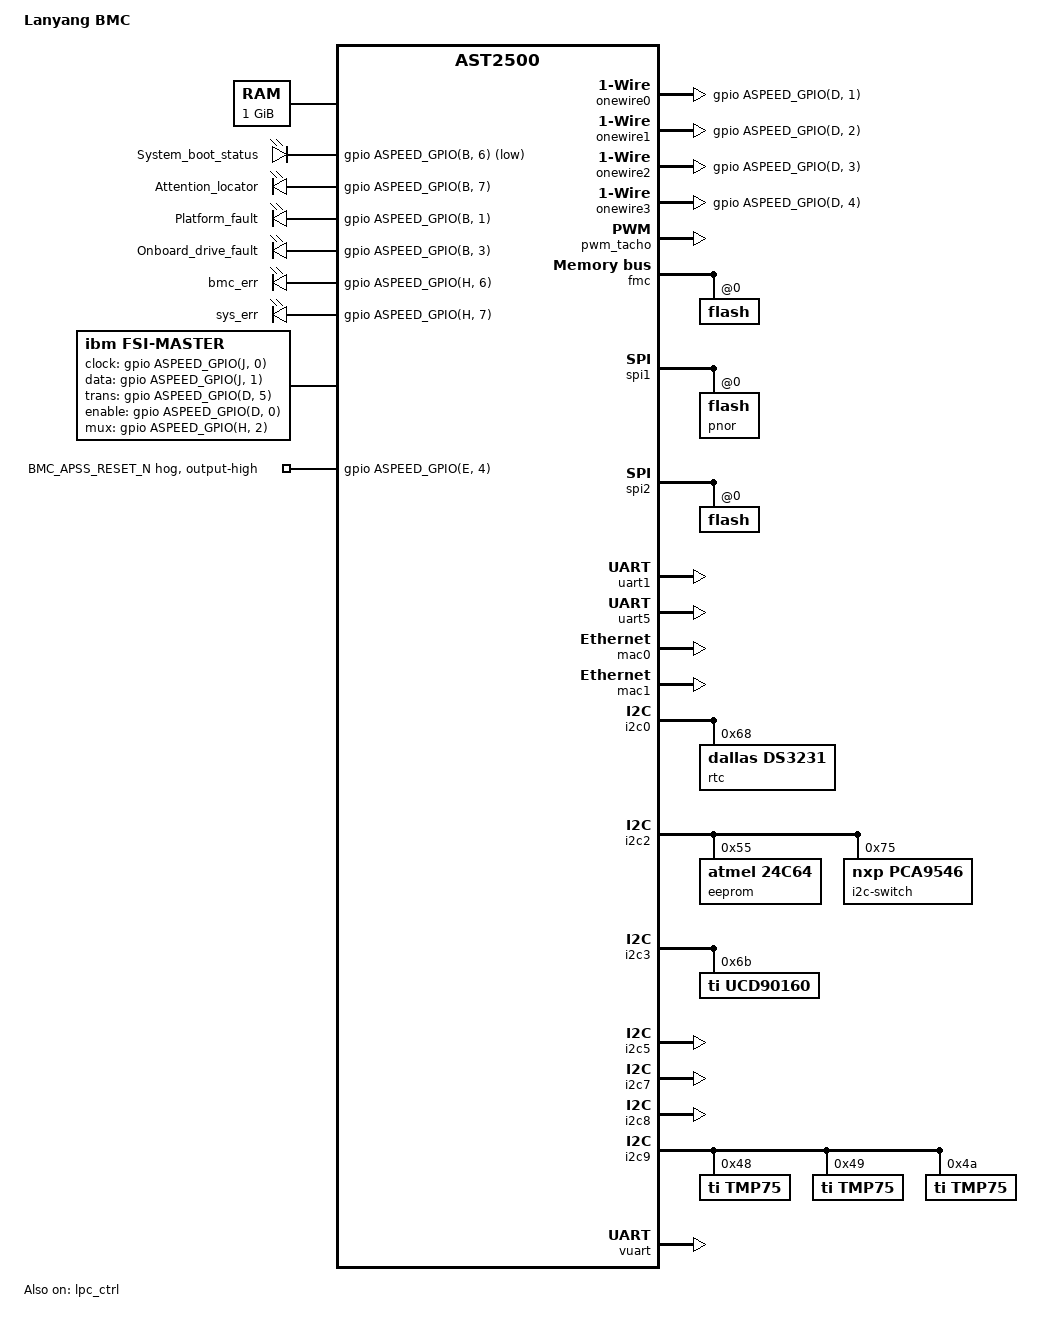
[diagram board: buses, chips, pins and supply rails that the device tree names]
/dts-v1/;

#include "aspeed-g5.dtsi"
#include <dt-bindings/gpio/aspeed-gpio.h>

/ {
	model = "Lanyang BMC";
	compatible = "inventec,lanyang-bmc", "aspeed,ast2500";

	aliases {
		serial4 = &uart5;
	};

	chosen {
		stdout-path = &uart5;
		bootargs = "console=ttyS4,115200 earlyprintk";
	};

	memory {
		reg = <0x80000000 0x40000000>;
	};

	reserved-memory {
		#address-cells = <1>;
		#size-cells = <1>;
		ranges;

		flash_memory: region@94000000 {
			no-map;
			reg = <0x94000000 0x04000000>; /* 64M */
		};
	};

	onewire0 {
		compatible = "w1-gpio";
		gpios = <&gpio ASPEED_GPIO(D, 1) GPIO_ACTIVE_HIGH>;
	};

	onewire1 {
		compatible = "w1-gpio";
		gpios = <&gpio ASPEED_GPIO(D, 2) GPIO_ACTIVE_HIGH>;
	};

	onewire2 {
		compatible = "w1-gpio";
		gpios = <&gpio ASPEED_GPIO(D, 3) GPIO_ACTIVE_HIGH>;
	};

	onewire3 {
		compatible = "w1-gpio";
		gpios = <&gpio ASPEED_GPIO(D, 4) GPIO_ACTIVE_HIGH>;
	};

	leds {
		compatible = "gpio-leds";

		sys_boot_status {
			label = "System_boot_status";
			gpios = <&gpio ASPEED_GPIO(B, 6) GPIO_ACTIVE_LOW>;
		};

		attention {
			label = "Attention_locator";
			gpios = <&gpio ASPEED_GPIO(B, 7) GPIO_ACTIVE_HIGH>;
		};

		plt_fault {
			label = "Platform_fault";
			gpios = <&gpio ASPEED_GPIO(B, 1) GPIO_ACTIVE_HIGH>;
		};

		hdd_fault {
			label = "Onboard_drive_fault";
			gpios = <&gpio ASPEED_GPIO(B, 3) GPIO_ACTIVE_HIGH>;
		};
		bmc_err {
			lable = "BMC_fault";
			gpios = <&gpio ASPEED_GPIO(H, 6) GPIO_ACTIVE_HIGH>;
		};

		sys_err {
			lable = "Sys_fault";
			gpios = <&gpio ASPEED_GPIO(H, 7) GPIO_ACTIVE_HIGH>;
		};
    };
        pwm_tacho: pwm-tacho-controller@2e786000 {
                #address-cells = <1>;
                #size-cells = <1>;
                reg = <0x1E786000 0x1000>;
                pinctrl-names = "default";
                pinctrl-0 = <&pinctrl_pwm0_default &pinctrl_pwm1_default
                 &pinctrl_pwm2_default &pinctrl_pwm3_default
                 &pinctrl_pwm4_default &pinctrl_pwm5_default>;
                compatible = "aspeed,aspeed2500-pwm-tacho";
                clocks = <&pwm_tacho_fixed_clk>;
                type-values {
                        typem {
                                type = /bits/ 8 <0x00>;
                                pwm-period = /bits/ 8 <0x5F>;
                                pwm-clock-division-h = /bits/ 8 <0x00>;
                                pwm-clock-division-l = /bits/ 8 <0x05>;
                                fan-tach-type-enable;
                               fan-tach-clock-division = /bits/ 8 <0x00>;
                                fan-tach-mode-selection = /bits/ 8 <0x00>;
                                fan-tach-period = /bits/ 16 <0x1000>;
                        };
                };
                pwm-port {
                        pwm-port0 {
                                pwm-port = /bits/ 8 <0x00>;
                                type = /bits/ 8 <0x00>;
                                fan-ctrl = /bits/ 8 <0xFF>;
                        };
                        pwm-port1 {
                                pwm-port = /bits/ 8 <0x01>;
                                type = /bits/ 8 <0x00>;
                                fan-ctrl = /bits/ 8 <0xFF>;
                        };
                        pwm-port2 {
                                pwm-port = /bits/ 8 <0x02>;
                                type = /bits/ 8 <0x00>;
                                fan-ctrl = /bits/ 8 <0xFF>;
                        };
                        pwm-port3 {
                                pwm-port = /bits/ 8 <0x03>;
                                type = /bits/ 8 <0x00>;
                                fan-ctrl = /bits/ 8 <0xFF>;
                        };
                        pwm-port4 {
                                pwm-port = /bits/ 8 <0x04>;
                                type = /bits/ 8 <0x00>;
                                fan-ctrl = /bits/ 8 <0xFF>;
                        };
                        pwm-port5 {
                                pwm-port = /bits/ 8 <0x05>;
                                type = /bits/ 8 <0x00>;
                                fan-ctrl = /bits/ 8 <0xFF>;
                        };
               };
               fan-tach-channel {
                        fan-tach0 {
                                fanctrl-gpios = <&gpio
                                         ASPEED_GPIO(O, 0) GPIO_ACTIVE_HIGH>;
                                fan-tach = /bits/ 8 <0x00>;
                                pwm-source = /bits/ 8 <0x00>;
                        };
                        fan-tach1 {
                                fanctrl-gpios = <&gpio
                                         ASPEED_GPIO(O, 1) GPIO_ACTIVE_HIGH>;
                                fan-tach = /bits/ 8 <0x01>;
                                pwm-source = /bits/ 8 <0x01>;
                        };
                        fan-tach2 {
                                fanctrl-gpios = <&gpio
                                         ASPEED_GPIO(O, 2) GPIO_ACTIVE_HIGH>;
                                fan-tach = /bits/ 8 <0x02>;
                               pwm-source = /bits/ 8 <0x02>;
                        };
                        fan-tach3 {
                                fanctrl-gpios = <&gpio
                                         ASPEED_GPIO(O, 3) GPIO_ACTIVE_HIGH>;
                                fan-tach = /bits/ 8 <0x03>;
                                pwm-source = /bits/ 8 <0x03>;
                        };
                        fan-tach4 {
                                fanctrl-gpios = <&gpio
                                         ASPEED_GPIO(O, 4) GPIO_ACTIVE_HIGH>;
                                fan-tach = /bits/ 8 <0x04>;
                                pwm-source = /bits/ 8 <0x04>;
                        };
                        fan-tach5 {
                                fanctrl-gpios = <&gpio
                                         ASPEED_GPIO(O, 5) GPIO_ACTIVE_HIGH>;
                                fan-tach = /bits/ 8 <0x05>;
                                pwm-source = /bits/ 8 <0x05>;
                        };
                };
	};

	fsi-master {
		compatible = "ibm,fsi-master", "ibm,fsi-master-gpio";

		status = "okay";

		clock-gpios = <&gpio ASPEED_GPIO(J, 0) GPIO_ACTIVE_HIGH>;
		data-gpios = <&gpio ASPEED_GPIO(J, 1) GPIO_ACTIVE_HIGH>;
		trans-gpios = <&gpio ASPEED_GPIO(D, 5) GPIO_ACTIVE_HIGH>;
		enable-gpios = <&gpio ASPEED_GPIO(D, 0) GPIO_ACTIVE_HIGH>;
		mux-gpios = <&gpio ASPEED_GPIO(H, 2) GPIO_ACTIVE_HIGH>;
	};

    pwm_tacho: pwm-tacho-controller@2e786000 {
        #address-cells = <1>;
        #size-cells = <1>;
        reg = <0x1E786000 0x1000>;
        pinctrl-names = "default";
        pinctrl-0 = <&pinctrl_pwm0_default &pinctrl_pwm1_default
         &pinctrl_pwm2_default &pinctrl_pwm3_default
         &pinctrl_pwm4_default &pinctrl_pwm5_default>;
        compatible = "aspeed,aspeed2500-pwm-tacho";
        clocks = <&pwm_tacho_fixed_clk>;
        type-values {
            typem {
                type = /bits/ 8 <0x00>;
                pwm-period = /bits/ 8 <0x5F>;
                pwm-clock-division-h = /bits/ 8 <0x00>;
                pwm-clock-division-l = /bits/ 8 <0x05>;
                fan-tach-type-enable;
                fan-tach-clock-division = /bits/ 8 <0x00>;
                fan-tach-mode-selection = /bits/ 8 <0x00>;
                fan-tach-period = /bits/ 16 <0x1000>;
            };
        };

        pwm-port {
            pwm-port0 {
                pwm-port = /bits/ 8 <0x00>;
                type = /bits/ 8 <0x00>;
                fan-ctrl = /bits/ 8 <0xFF>;
            };
            pwm-port1 {
                pwm-port = /bits/ 8 <0x01>;
                type = /bits/ 8 <0x00>;
                fan-ctrl = /bits/ 8 <0xFF>;
            };
            pwm-port2 {
                pwm-port = /bits/ 8 <0x02>;
                type = /bits/ 8 <0x00>;
                fan-ctrl = /bits/ 8 <0xFF>;
            };
            pwm-port3 {
                pwm-port = /bits/ 8 <0x03>;
                type = /bits/ 8 <0x00>;
                fan-ctrl = /bits/ 8 <0xFF>;
            };
            pwm-port4 {
                pwm-port = /bits/ 8 <0x04>;
                type = /bits/ 8 <0x00>;
                fan-ctrl = /bits/ 8 <0xFF>;
            };
            pwm-port5 {
                pwm-port = /bits/ 8 <0x05>;
                type = /bits/ 8 <0x00>;
                fan-ctrl = /bits/ 8 <0xFF>;
            };
        };

        fan-tach-channel {
            fan-tach0 {
                fanctrl-gpios = <&gpio
                     ASPEED_GPIO(O, 0) GPIO_ACTIVE_HIGH>;
                fan-tach = /bits/ 8 <0x00>;
                pwm-source = /bits/ 8 <0x00>;
            };
            fan-tach1 {
                fanctrl-gpios = <&gpio
                     ASPEED_GPIO(O, 1) GPIO_ACTIVE_HIGH>;
                fan-tach = /bits/ 8 <0x01>;
                pwm-source = /bits/ 8 <0x01>;
            };
            fan-tach2 {
                fanctrl-gpios = <&gpio
                     ASPEED_GPIO(O, 2) GPIO_ACTIVE_HIGH>;
                fan-tach = /bits/ 8 <0x02>;
                pwm-source = /bits/ 8 <0x02>;
            };
            fan-tach3 {
                fanctrl-gpios = <&gpio
                     ASPEED_GPIO(O, 3) GPIO_ACTIVE_HIGH>;
                fan-tach = /bits/ 8 <0x03>;
                pwm-source = /bits/ 8 <0x03>;
            };
            fan-tach4 {
                fanctrl-gpios = <&gpio
                     ASPEED_GPIO(O, 4) GPIO_ACTIVE_HIGH>;
                fan-tach = /bits/ 8 <0x04>;
                pwm-source = /bits/ 8 <0x04>;
            };
            fan-tach5 {
                fanctrl-gpios = <&gpio
                     ASPEED_GPIO(O, 5) GPIO_ACTIVE_HIGH>;
                fan-tach = /bits/ 8 <0x05>;
                pwm-source = /bits/ 8 <0x05>;
            };
        };
    };
>>>>>>> a8453f2... add pwm/tach
};

&fmc {
	status = "okay";
	flash@0 {
		status = "okay";
#include "aspeed-bmc-opp-flash-layout.dtsi"
	};
};

&spi1 {
	status = "okay";
	pinctrl-names = "default";
	pinctrl-0 = <&pinctrl_spi1_default>;

	flash@0 {
		status = "okay";
		label = "pnor";
	};
};

&spi2 {
	status = "okay";
	pinctrl-names = "default";
	pinctrl-0 = <&pinctrl_spi2ck_default
		     &pinctrl_spi2cs0_default
		     &pinctrl_spi2cs1_default
		     &pinctrl_spi2miso_default
		     &pinctrl_spi2mosi_default>;

	flash@0 {
		status = "okay";
	};
};

&uart1 {
	status = "okay";
	pinctrl-names = "default";
	pinctrl-0 = <&pinctrl_txd1_default
		     &pinctrl_rxd1_default>;
};

&lpc_ctrl {
	status = "okay";
	memory-region = <&flash_memory>;
	flash = <&spi1>;
};

&mbox {
	status = "okay";
};

&uart5 {
	status = "okay";
};

&mac0 {
	status = "okay";

	pinctrl-names = "default";
	pinctrl-0 = <&pinctrl_rmii1_default>;
	use-ncsi;
};

&mac1 {
	status = "okay";

	pinctrl-names = "default";
	pinctrl-0 = <&pinctrl_rgmii2_default &pinctrl_mdio2_default>;
};

&i2c0 {
	status = "okay";

	rtc@68 {
		compatible = "dallas,ds3231";
		reg = <0x68>;
	};

	/* RTC DS3231 @68h	 */
};

&i2c1 {
	status = "disable";

	/* APSS
	 * BCM5719
	 */
};

&i2c2 {
	status = "okay";

	/* AT24C64 @55h */
	eeprom@55 {
		compatible = "atmel,24c64";
		reg = <0x55>;
		pagesize = <32>;
	};

	/*
	 * PCA9546 @75h
	 *		bus0	48V MON LM5058 @41h
	 *				48V H-SWAP LM5058 @40h
	 *		bus1	P0 0V8 MON LM5058 @40h
	 *				P1 0V8 MON LM5058 @41h
	 *		bus2	P0 0V7 MON LM5058 @40h
	 *				P1 0V7 MON LM5058 @41h
	 *		bus3	P0 VDDQ0 MON LM5058 @40h
	 *				P0 VDDQ1 MON LM5058 @41h
	 *				P1 VDDQ0 MON LM5058 @42h
	 *				P1 VDDQ1 MON LM5058 @43h
	 */
	i2c-switch@75 {
		compatible = "nxp,pca9546";
		reg = <0x75>;
		#address-cells = <1>;
		#size-cells = <0>;
	};
};

&i2c3 {
	status = "okay";

	/* Power sequencer UCD90160 PMBUS @64h */
	ucd90160@64 {
		compatible = "ti,ucd90160";
		reg = <0x6B>;
	};
};

&i2c4 {
	status = "disabled";

	/* P0 FSP connecter */
};

&i2c5 {
	status = "okay";

	/* CPU0 0V96 IR38063 @41h */
	/* CPU1 0V96 IR38063 @42h */
	/* CPU0 1V0 IR38063 @40h */
	/* CPU1 1V0 IR38063 @43h */
};

&i2c6 {
	status = "disabled";

	/* P1 FSP connecter */
};

&i2c7 {
	status = "okay";

	/* CLK BUFF 9DBL0452 @6Dh */
	/* CLK GEN 9FGS9092 @6Bh */
};

&i2c8 {
	status = "okay";

};

&i2c9 {
	status = "okay";

	/* T-SENSOR TMP75 @48h */
	tmp75@48 {
		compatible = "ti,tmp75";
		reg = <0x48>;
	};

	/* T-SENSOR TMP75 @49h */
	tmp75@49 {
		compatible = "ti,tmp75";
		reg = <0x49>;
	};

	/* T-SENSOR TMP75 @4Ah */
	tmp75@4A {
		compatible = "ti,tmp75";
		reg = <0x4A>;
	};

	/* 12V Brick Q54SJ12050 @96h(TBD) */
};

&i2c10 {
	status = "disabled";
};

&i2c11 {
	status = "disabled";

	/* TPM connector @57h */
};

&i2c12 {
	status = "disabled";
};

&i2c13 {
	status = "disabled";
};

&gpio {
	line_apss_reset {
		gpio-hog;
		gpios = <ASPEED_GPIO(E, 4) GPIO_ACTIVE_HIGH>;
		output-high;
		line-name = "BMC_APSS_RESET_N";
	};
};

&vuart {
	status = "okay";
};

&pinctrl {
	aspeed,external-nodes = <&gfx &lhc>;
};
